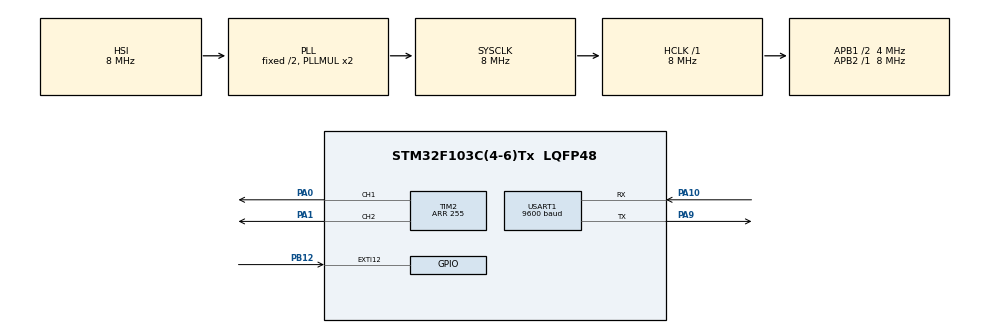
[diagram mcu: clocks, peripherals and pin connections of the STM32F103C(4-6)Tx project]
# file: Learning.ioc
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Mcu.Family=STM32F1
Mcu.Name=STM32F103C(4-6)Tx
Mcu.Package=LQFP48
NVIC.EXTI15_10_IRQn=true\:0\:0\:false\:false\:true\:true\:true\:true
NVIC.PriorityGroup=NVIC_PRIORITYGROUP_4
NVIC.USART1_IRQn=true\:0\:0\:false\:false\:true\:true\:true\:true
PA0-WKUP.Signal=S_TIM2_CH1_ETR
PA1.Signal=S_TIM2_CH2
PA10.Mode=Asynchronous
PA10.Signal=USART1_RX
PA9.Mode=Asynchronous
PA9.Signal=USART1_TX
PB12.GPIO_ModeDefaultEXTI=GPIO_MODE_IT_FALLING
PB12.GPIO_PuPd=GPIO_PULLUP
PB12.Signal=GPXTI12
ProjectManager.HeapSize=0x200
ProjectManager.StackSize=0x400
ProjectManager.TargetToolchain=STM32CubeIDE
RCC.AHBFreq_Value=8000000
RCC.APB1CLKDivider=RCC_HCLK_DIV2
RCC.APB1Freq_Value=4000000
RCC.APB1TimFreq_Value=8000000
RCC.APB2Freq_Value=8000000
RCC.APB2TimFreq_Value=8000000
RCC.HCLKFreq_Value=8000000
RCC.SYSCLKFreq_VALUE=8000000
RCC.SYSCLKSource=RCC_SYSCLKSOURCE_PLLCLK
RCC.USBFreq_Value=8000000
SH.S_TIM2_CH1_ETR.0=TIM2_CH1,PWM Generation1 CH1
SH.S_TIM2_CH2.0=TIM2_CH2,PWM Generation2 CH2
TIM2.AutoReloadPreload=TIM_AUTORELOAD_PRELOAD_ENABLE
TIM2.Channel-PWM\ Generation1\ CH1=TIM_CHANNEL_1
TIM2.Channel-PWM\ Generation2\ CH2=TIM_CHANNEL_2
TIM2.Period=255
TIM2.Pulse-PWM\ Generation1\ CH1=125
USART1.BaudRate=9600
USART1.VirtualMode=VM_ASYNC
VP_SYS_VS_ND.Mode=No_Debug
VP_TIM2_VS_ClockSourceINT.Mode=Internal
board=custom

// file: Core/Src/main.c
/* USER CODE BEGIN Header */
/**
  ******************************************************************************
  * @file           : main.c
  * @brief          : Main program body
  ******************************************************************************
  * @attention
  *
  * Copyright (c) 2023 STMicroelectronics.
  * All rights reserved.
  *
  * This software is licensed under terms that can be found in the LICENSE file
  * in the root directory of this software component.
  * If no LICENSE file comes with this software, it is provided AS-IS.
  *
  ******************************************************************************
  */
/* USER CODE END Header */
#include "main.h"

/* USER CODE BEGIN Includes */
#include <stdio.h>
#include <stdlib.h>
#include <string.h>
/* USER CODE END Includes */

#define RX_BUFFER_SIZE 1
#define RECIEVED_BUFFER_SIZE 4
#define PWM_MSG_SIZE 34
#define COUNTER_CLOCKWISE_TEXT "CCW"
#define CLOCKWISE_TEXT "CW"
#define PWM_CLOCKWISE_CHANNEL TIM_CHANNEL_1
#define PWM_COUNTER_CLOCKWISE_CHANNEL TIM_CHANNEL_2
#define PWM_DEADTIME_DELAY 500
TIM_HandleTypeDef htim2;

UART_HandleTypeDef huart1;

/* USER CODE BEGIN PV */
uint8_t rx_buffer[RX_BUFFER_SIZE];
uint8_t recieved_buffer[RECIEVED_BUFFER_SIZE];
uint8_t recieved_buffer_index = 0;
char pwm_msg[PWM_MSG_SIZE];

typedef enum MotorDirection
{
	ClockWise = 0,
	CounterClockWise
}MotorDirection;

MotorDirection motorDirection = ClockWise;

uint32_t PWM_CurrentChannel = PWM_CLOCKWISE_CHANNEL;
uint8_t PWM_countingDutyCycle = 125;
uint8_t changeMotorDirection = 0;
uint8_t changePWM_DutyCycle = 0;
/* USER CODE END PV */

void SystemClock_Config(void);
static void MX_GPIO_Init(void);
static void MX_USART1_UART_Init(void);
static void MX_TIM2_Init(void);

/* USER CODE BEGIN 0 */
void HAL_UART_RxCpltCallback(UART_HandleTypeDef *huart)
{
	HAL_UART_Receive_IT(&huart1, rx_buffer, 1);
	if(rx_buffer[0] == '\n')
	{
		recieved_buffer[strlen((char*)rx_buffer) - 1] = '\0';
		if(strcmp((char*)recieved_buffer, COUNTER_CLOCKWISE_TEXT) == 0)
		{
			//move clockwise
			changeMotorDirection = 1;
			motorDirection = CounterClockWise;
		}
		else if(strcmp((char*)recieved_buffer, CLOCKWISE_TEXT) == 0)
		{
			//Move clockwise
			changeMotorDirection = 1;
			motorDirection = ClockWise;
		}
		else{
			changePWM_DutyCycle = 1;
			uint16_t duty_cycle = (uint16_t)atoi((char*) recieved_buffer);
			sprintf(pwm_msg, "PWM Duty Cycle: %u%%\r\n", duty_cycle);
			if(duty_cycle > 100)
			{
				sprintf(pwm_msg, "Invalid input!\n");
			}
			HAL_UART_Transmit(&huart1, (uint8_t*)pwm_msg, strlen((char*)pwm_msg), HAL_MAX_DELAY);
			//Set Period
			PWM_countingDutyCycle = (uint8_t)(((float)duty_cycle / 100.0f) * (float)(255));
		}
		memset(recieved_buffer, 0, RECIEVED_BUFFER_SIZE);
		memset(pwm_msg, 0, PWM_MSG_SIZE);
		recieved_buffer_index = 0;
	}
	else
	{
		recieved_buffer[recieved_buffer_index] = rx_buffer[0];
		recieved_buffer_index++;
		recieved_buffer_index = recieved_buffer_index % RECIEVED_BUFFER_SIZE;
	}
}

void HAL_GPIO_EXTI_Callback(uint16_t GPIO_Pin)
{
  if(GPIO_Pin == GPIO_PIN_12)
  {
	  char buff[5];
	  sprintf(buff, "Hi\n\r");;
	  HAL_UART_Transmit(&huart1, (uint8_t*)buff, strlen(buff), HAL_MAX_DELAY);
  }
}
/* USER CODE END 0 */

int main(void)
{

  /* MCU Configuration--------------------------------------------------------*/

  /* Reset of all peripherals, Initializes the Flash interface and the Systick. */
  HAL_Init();

  /* Configure the system clock */
  SystemClock_Config();

  /* Initialize all configured peripherals */
  MX_GPIO_Init();
  MX_USART1_UART_Init();
  MX_TIM2_Init();
  /* USER CODE BEGIN 2 */
  HAL_UART_Receive_IT(&huart1, rx_buffer, 1);
  HAL_TIM_PWM_Start(&htim2, TIM_CHANNEL_1);
  HAL_TIM_PWM_Start(&htim2, TIM_CHANNEL_2);
  __HAL_TIM_SET_COMPARE(&htim2, PWM_COUNTER_CLOCKWISE_CHANNEL, 0);
  /* USER CODE END 2 */

  /* Infinite loop */
  while (1)
  {
	  if(changeMotorDirection)
	  {
		  switch(motorDirection)
		  {
		  case ClockWise:
		  {
			  PWM_CurrentChannel = PWM_CLOCKWISE_CHANNEL;
			  __HAL_TIM_SET_COMPARE(&htim2, PWM_COUNTER_CLOCKWISE_CHANNEL, 0);
			  __HAL_TIM_SET_COMPARE(&htim2, PWM_CLOCKWISE_CHANNEL, 0);
			  //delay here
			  HAL_Delay(PWM_DEADTIME_DELAY);
			  __HAL_TIM_SET_COMPARE(&htim2, PWM_CLOCKWISE_CHANNEL, PWM_countingDutyCycle);
			  char buff[6];
			  sprintf(buff, "CW\n\r");
			  HAL_UART_Transmit(&huart1, (uint8_t*)buff, strlen(buff), HAL_MAX_DELAY);
		  }break;
		  case CounterClockWise:
		  {
			  PWM_CurrentChannel = PWM_COUNTER_CLOCKWISE_CHANNEL;
			  __HAL_TIM_SET_COMPARE(&htim2, PWM_CLOCKWISE_CHANNEL, 0);
			  __HAL_TIM_SET_COMPARE(&htim2, PWM_COUNTER_CLOCKWISE_CHANNEL, 0);
			  //delay here
			  HAL_Delay(PWM_DEADTIME_DELAY);
			  __HAL_TIM_SET_COMPARE(&htim2, PWM_COUNTER_CLOCKWISE_CHANNEL, PWM_countingDutyCycle);
			  char buff[6];
			  sprintf(buff, "CCW\n\r");
			  HAL_UART_Transmit(&huart1, (uint8_t*)buff, strlen(buff), HAL_MAX_DELAY);
		  }break;
		  }
		  changeMotorDirection = 0;
	  }
	  if(changePWM_DutyCycle)
	  {
		  __HAL_TIM_SET_COMPARE(&htim2, PWM_CurrentChannel, PWM_countingDutyCycle);

		  changePWM_DutyCycle = 0;
	  }
  }
}

void SystemClock_Config(void)
{
  RCC_OscInitTypeDef RCC_OscInitStruct = {0};
  RCC_ClkInitTypeDef RCC_ClkInitStruct = {0};

  /** Initializes the RCC Oscillators according to the specified parameters
  * in the RCC_OscInitTypeDef structure.
  */
  RCC_OscInitStruct.OscillatorType = RCC_OSCILLATORTYPE_HSI;
  RCC_OscInitStruct.HSIState = RCC_HSI_ON;
  RCC_OscInitStruct.HSICalibrationValue = RCC_HSICALIBRATION_DEFAULT;
  RCC_OscInitStruct.PLL.PLLState = RCC_PLL_ON;
  RCC_OscInitStruct.PLL.PLLSource = RCC_PLLSOURCE_HSI_DIV2;
  RCC_OscInitStruct.PLL.PLLMUL = RCC_PLL_MUL2;
  if (HAL_RCC_OscConfig(&RCC_OscInitStruct) != HAL_OK)
  {
    Error_Handler();
  }

  /** Initializes the CPU, AHB and APB buses clocks
  */
  RCC_ClkInitStruct.ClockType = RCC_CLOCKTYPE_HCLK|RCC_CLOCKTYPE_SYSCLK
                              |RCC_CLOCKTYPE_PCLK1|RCC_CLOCKTYPE_PCLK2;
  RCC_ClkInitStruct.SYSCLKSource = RCC_SYSCLKSOURCE_PLLCLK;
  RCC_ClkInitStruct.AHBCLKDivider = RCC_SYSCLK_DIV1;
  RCC_ClkInitStruct.APB1CLKDivider = RCC_HCLK_DIV2;
  RCC_ClkInitStruct.APB2CLKDivider = RCC_HCLK_DIV1;

  if (HAL_RCC_ClockConfig(&RCC_ClkInitStruct, FLASH_LATENCY_0) != HAL_OK)
  {
    Error_Handler();
  }
}

static void MX_TIM2_Init(void)
{

  TIM_ClockConfigTypeDef sClockSourceConfig = {0};
  TIM_MasterConfigTypeDef sMasterConfig = {0};
  TIM_OC_InitTypeDef sConfigOC = {0};

  htim2.Instance = TIM2;
  htim2.Init.Prescaler = 0;
  htim2.Init.CounterMode = TIM_COUNTERMODE_UP;
  htim2.Init.Period = 255;
  htim2.Init.ClockDivision = TIM_CLOCKDIVISION_DIV1;
  htim2.Init.AutoReloadPreload = TIM_AUTORELOAD_PRELOAD_ENABLE;
  if (HAL_TIM_Base_Init(&htim2) != HAL_OK)
  {
    Error_Handler();
  }
  sClockSourceConfig.ClockSource = TIM_CLOCKSOURCE_INTERNAL;
  if (HAL_TIM_ConfigClockSource(&htim2, &sClockSourceConfig) != HAL_OK)
  {
    Error_Handler();
  }
  if (HAL_TIM_PWM_Init(&htim2) != HAL_OK)
  {
    Error_Handler();
  }
  sMasterConfig.MasterOutputTrigger = TIM_TRGO_RESET;
  sMasterConfig.MasterSlaveMode = TIM_MASTERSLAVEMODE_DISABLE;
  if (HAL_TIMEx_MasterConfigSynchronization(&htim2, &sMasterConfig) != HAL_OK)
  {
    Error_Handler();
  }
  sConfigOC.OCMode = TIM_OCMODE_PWM1;
  sConfigOC.Pulse = 125;
  sConfigOC.OCPolarity = TIM_OCPOLARITY_HIGH;
  sConfigOC.OCFastMode = TIM_OCFAST_DISABLE;
  if (HAL_TIM_PWM_ConfigChannel(&htim2, &sConfigOC, TIM_CHANNEL_1) != HAL_OK)
  {
    Error_Handler();
  }
  sConfigOC.Pulse = 0;
  if (HAL_TIM_PWM_ConfigChannel(&htim2, &sConfigOC, TIM_CHANNEL_2) != HAL_OK)
  {
    Error_Handler();
  }
  HAL_TIM_MspPostInit(&htim2);

}

static void MX_USART1_UART_Init(void)
{

  huart1.Instance = USART1;
  huart1.Init.BaudRate = 9600;
  huart1.Init.WordLength = UART_WORDLENGTH_8B;
  huart1.Init.StopBits = UART_STOPBITS_1;
  huart1.Init.Parity = UART_PARITY_NONE;
  huart1.Init.Mode = UART_MODE_TX_RX;
  huart1.Init.HwFlowCtl = UART_HWCONTROL_NONE;
  huart1.Init.OverSampling = UART_OVERSAMPLING_16;
  if (HAL_UART_Init(&huart1) != HAL_OK)
  {
    Error_Handler();
  }

}

static void MX_GPIO_Init(void)
{
  GPIO_InitTypeDef GPIO_InitStruct = {0};

  /* GPIO Ports Clock Enable */
  __HAL_RCC_GPIOA_CLK_ENABLE();
  __HAL_RCC_GPIOB_CLK_ENABLE();

  /*Configure GPIO pin : PB12 */
  GPIO_InitStruct.Pin = GPIO_PIN_12;
  GPIO_InitStruct.Mode = GPIO_MODE_IT_FALLING;
  GPIO_InitStruct.Pull = GPIO_PULLUP;
  HAL_GPIO_Init(GPIOB, &GPIO_InitStruct);

  /* EXTI interrupt init*/
  HAL_NVIC_SetPriority(EXTI15_10_IRQn, 0, 0);
  HAL_NVIC_EnableIRQ(EXTI15_10_IRQn);

}

void Error_Handler(void)
{
  __disable_irq();
  while (1)
  {
  }
}
